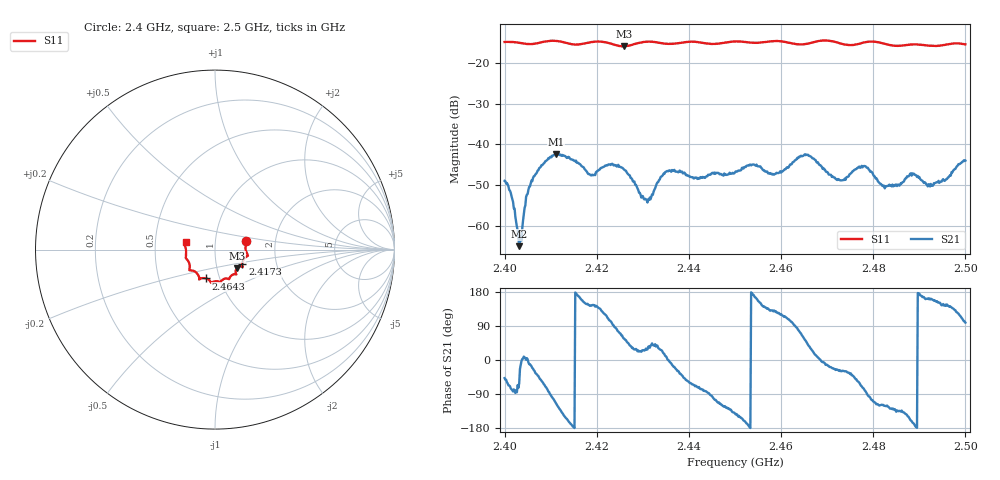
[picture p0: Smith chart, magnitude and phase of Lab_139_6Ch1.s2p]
# Hz S RI R 50
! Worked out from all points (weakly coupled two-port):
!   601 points, 2.4 GHz to 2.5 GHz, reference 50 ohm
!   highest |S21| = -42.36 dB at 2.4112 GHz (marker M1); lowest = -65.0 dB at 2.4032 GHz (marker M2)
!   lowest |S11| = -15.9 dB at 2.4258 GHz (marker M3), VSWR 1.38, Z = 62.3 - j13.2 ohm
!   |S11| at or under -10 dB: start of sweep to end of sweep
!   S12 and S22 are empty: the file has one direction only
!   S11 on the Smith chart (normalised r, x): 2.4 GHz: 1.41, +0.14; 2.4173 GHz: 1.34, -0.23; 2.4643 GHz: 0.86, -0.28; 2.5 GHz: 0.72, +0.06
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2.4e9  0.1735 0.0496  0.0024 -0.00265  0 0  0 0
2.401667e9  0.1756 0.0429  0.000386 -0.0021  0 0  0 0
2.403167e9  0.1734 0.0332  0.000271 -0.000495  0 0  0 0
2.405833e9  0.17 0.0032  0.00346 -0.00103  0 0  0 0
2.411167e9  0.1829 -0.0346  -0.00323 -0.0069  0 0  0 0
2.416667e9  0.1529 -0.0744  -0.00509 0.00194  0 0  0 0
2.417333e9  0.1523 -0.0818  -0.00438 0.00241  0 0  0 0
2.425833e9  0.1215 -0.1036  0.00271 0.00418  0 0  0 0
2.430667e9  0.1189 -0.1376  0.00184 0.00107  0 0  0 0
2.433333e9  0.113 -0.1367  0.00294 0.00181  0 0  0 0
2.4355e9  0.0978 -0.1405  0.00468 -4.74e-05  0 0  0 0
2.45e9  0.0296 -0.181  -0.00356 -0.00283  0 0  0 0
2.453667e9  0.0128 -0.1766  -0.00562 0.000364  0 0  0 0
2.458833e9  -0.0211 -0.1842  -0.00274 0.00341  0 0  0 0
2.464333e9  -0.0503 -0.1607  0.00252 0.00681  0 0  0 0
2.466667e9  -0.0764 -0.16  0.00619 0.00305  0 0  0 0
2.472333e9  -0.0888 -0.1534  0.00338 -0.00165  0 0  0 0
2.478e9  -0.1352 -0.1161  0.00125 -0.0053  0 0  0 0
2.483333e9  -0.1408 -0.0897  -0.00174 -0.00258  0 0  0 0
2.4885e9  -0.1616 -0.0484  -0.00426 -0.00115  0 0  0 0
2.492833e9  -0.1607 -0.0156  -0.0029 0.00111  0 0  0 0
2.5e9  -0.1635 0.042  -0.000965 0.00626  0 0  0 0
